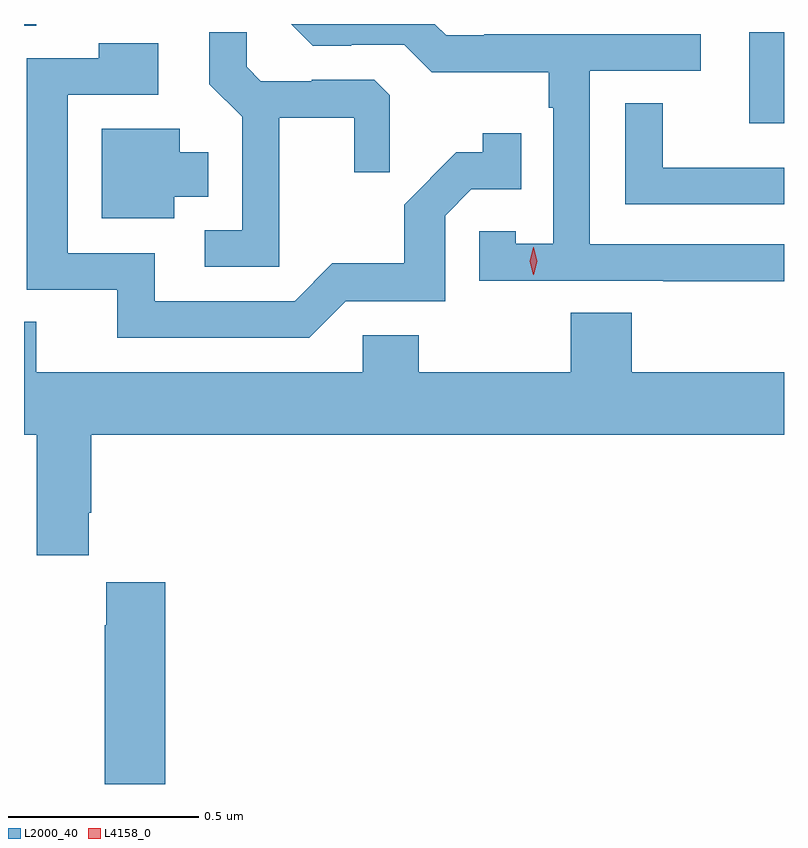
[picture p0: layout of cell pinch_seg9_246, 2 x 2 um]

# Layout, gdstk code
import gdstk
lib = gdstk.Library(unit=1e-6, precision=1e-09)
def R(c, l, rs):  # rectangles x0, y0, x1, y1
    for r in rs: c.add(gdstk.rectangle(r[:2], r[2:], *l))
def P(c, l, *ps):  # polygons
    for p in ps: c.add(gdstk.Polygon(p, *l))
L2000_40 = (2000, 40)
L4158_0 = (4158, 0)

pinch_seg9_246 = lib.new_cell('pinch_seg9_246')
R(pinch_seg9_246, L2000_40, [(425.873,1241.196,425.965,1241.435), (423.965,1241.452,423.997,1241.457)])
P(pinch_seg9_246, L2000_40, [(425.965,1240.878),(425.454,1240.878),(425.454,1241.334),(425.746,1241.334),(425.746,1241.43),(425.176,1241.43),(425.176,1241.427),(425.076,1241.427),(425.046,1241.457),(424.668,1241.457),(424.725,1241.4),(424.826,1241.4),(424.826,1241.403),(424.965,1241.403),(425.038,1241.33),(425.346,1241.33),(425.346,1241.237),(425.358,1241.237),(425.358,1240.879),(425.259,1240.879),(425.259,1240.911),(425.163,1240.911),(425.163,1240.782),(425.647,1240.782),(425.647,1240.78),(425.965,1240.78)],
  [(424.637,1241.21),(424.834,1241.21),(424.834,1241.067),(424.928,1241.067),(424.928,1241.269),(424.887,1241.31),(424.722,1241.31),(424.722,1241.307),(424.588,1241.307),(424.551,1241.344),(424.551,1241.435),(424.453,1241.435),(424.453,1241.299),(424.539,1241.213),(424.539,1240.914),(424.44,1240.914),(424.44,1240.818),(424.637,1240.818)],
  [(424.812,1240.728),(425.073,1240.728),(425.073,1240.953),(425.142,1241.022),(425.273,1241.022),(425.273,1241.17),(425.172,1241.17),(425.172,1241.12),(425.102,1241.12),(424.965,1240.982),(424.965,1240.827),(424.776,1240.827),(424.677,1240.728),(424.309,1240.728),(424.309,1240.854),(424.08,1240.854),(424.08,1241.271),(424.318,1241.271),(424.318,1241.407),(424.162,1241.407),(424.162,1241.367),(423.972,1241.367),(423.972,1240.758),(424.211,1240.758),(424.211,1240.632),(424.716,1240.632)],
  [(425.965,1241.079),(425.646,1241.079),(425.646,1241.249),(425.547,1241.249),(425.547,1240.983),(425.965,1240.983)],
  [(424.36,1241.003),(424.45,1241.003),(424.45,1241.119),(424.375,1241.119),(424.375,1241.182),(424.169,1241.182),(424.169,1240.946),(424.36,1240.946)],
  [(424.135,1240.171),(424.142,1240.171),(424.142,1240.376),(425.965,1240.376),(425.965,1240.54),(425.564,1240.54),(425.564,1240.697),(425.404,1240.697),(425.404,1240.54),(425.004,1240.54),(425.004,1240.638),(424.857,1240.638),(424.857,1240.54),(423.997,1240.54),(423.997,1240.673),(423.965,1240.673),(423.965,1240.376),(423.998,1240.376),(423.998,1240.059),(424.135,1240.059)],
  [(424.337,1239.988),(424.181,1239.988),(424.181,1239.875),(424.177,1239.875),(424.177,1239.457),(424.337,1239.457)])
P(pinch_seg9_246, L4158_0, [(425.305,1240.797),(425.296,1240.833),(425.305,1240.869),(425.306,1240.869),(425.306,1240.869),(425.316,1240.833),(425.306,1240.797),(425.306,1240.797)])

lib.write_gds('pinch_seg9_246.gds')
